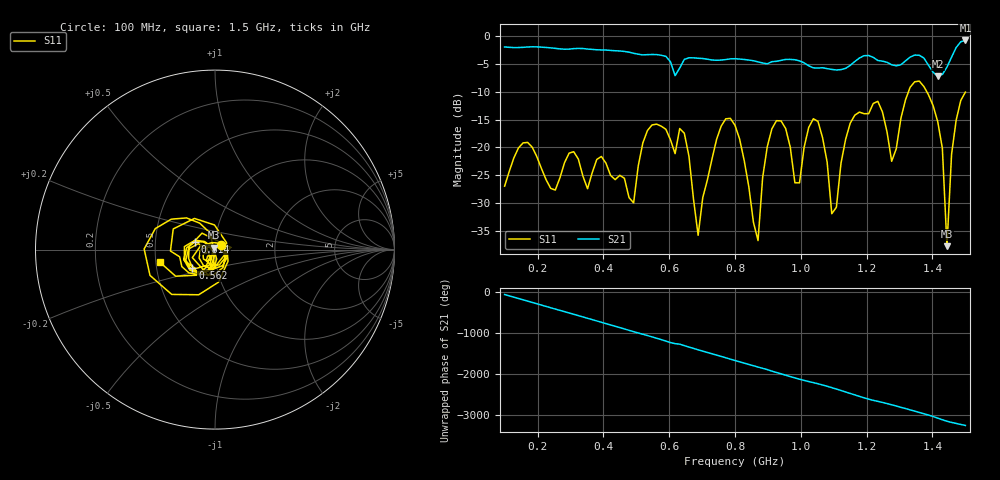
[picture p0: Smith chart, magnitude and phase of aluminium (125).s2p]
! NanoVNA-App
! Date: 2025-09-25 14:56:15
! Start: 100MHz Stop: 1,5GHz Points: 101
! S-Parameter data: F S11 S21 S12 S22
# Hz S RI R 50
!  Frequency  S11_Real  S11_Imag  S21_Real  S21_Imag  S12_Real  S12_Imag  S22_Real  S22_Imag
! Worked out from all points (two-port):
!   101 points, 100 MHz to 1.5 GHz, reference 50 ohm
!   highest |S21| = -0.75 dB at 1.5 GHz (marker M1); lowest = -7.2 dB at 1.416 GHz (marker M2)
!   |S21| within 3 dB of the highest: start of sweep to 591.9 MHz; 1.458 GHz to end of sweep (the widest 2 of 4)
!   lowest |S11| = -37.8 dB at 1.444 GHz (marker M3), VSWR 1.03, Z = 49.2 + j1.02 ohm
!   |S11| at or under -10 dB: start of sweep to 1.327 GHz; 1.383 GHz to end of sweep
!   S12 and S22 are empty: the file has one direction only
!   S11 on the Smith chart (normalised r, x): 100 MHz: 1.07, +0.06; 562 MHz: 0.76, -0.16; 814 MHz: 0.80, +0.07; 1.5 GHz: 0.53, -0.08
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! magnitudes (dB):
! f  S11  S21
! 100 MHz  -27.0  -1.9
! 338 MHz  -25.2  -2.2
! 492 MHz  -30.0  -3.1
! 562 MHz  -15.8  -3.3
! 576 MHz  -16.2  -3.4
! 646 MHz  -17.5  -4.2
! 688 MHz  -35.8  -4.0
! 800 MHz  -16.0  -4.0
! 814 MHz  -18.5  -4.1
! 870 MHz  -36.8  -4.6
! 912 MHz  -16.7  -4.6
! 996 MHz  -26.4  -4.4
! 1.038 GHz  -14.8  -5.7
! 1.094 GHz  -32.0  -6.0
! 1.164 GHz  -14.2  -4.5
! 1.234 GHz  -11.7  -4.4
! 1.276 GHz  -22.5  -5.1
! 1.346 GHz  -8.2  -3.4
! 1.416 GHz  -15.4  -7.2
! 1.444 GHz  -37.8  -5.5
! 1.458 GHz  -21.3  -3.8
! 1.5 GHz  -10.1  -0.7
